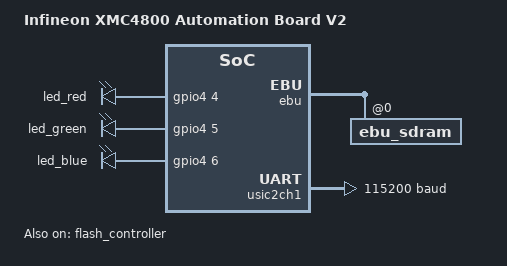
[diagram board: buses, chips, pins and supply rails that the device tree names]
/*
 * SPDX-License-Identifier: Apache-2.0
 *
 * Copyright (c) 2023 Andriy Gelman
 *
 */

/dts-v1/;

#include <infineon/xmc4800_E196x2048.dtsi>
#include <infineon/xmc4800_E196x2048-intc.dtsi>
#include <zephyr/dt-bindings/memory-controller/infineon-xmc4xxx-ebu.h>

#include "xmc4800_automation_board_v2-pinctrl.dtsi"

/ {
	model = "Infineon XMC4800 Automation Board V2";
	compatible = "infineon,xmc4xxx";

	aliases {
		led0 = &led_red;
		die-temp0 = &die_temp;
	};

	leds {
		compatible = "gpio-leds";
		led_red: led_red {
			gpios = <&gpio4 4 GPIO_ACTIVE_HIGH>;
		};
		led_green: led_green {
			gpios = <&gpio4 5 GPIO_ACTIVE_HIGH>;
		};
		led_blue: led_blue {
			gpios = <&gpio4 6 GPIO_ACTIVE_HIGH>;
		};
	};

	sdram1: sdram@60000000 {
		compatible = "zephyr,memory-region", "mmio-sram";
		device_type = "memory";
		reg = <0x60000000 DT_SIZE_M(8)>;
		zephyr,memory-region = "SDRAM1";
	};

	chosen {
		zephyr,sram = &psram1;
		zephyr,flash = &flash0;
		zephyr,console = &usic2ch1;
		zephyr,shell-uart = &usic2ch1;
		zephyr,flash-controller = &flash_controller;
		zephyr,code-partition = &code_partition;
	};
};

&dsram1 {
	compatible = "zephyr,memory-region", "mmio-sram";
	zephyr,memory-region = "DSRAM1";
};

&dsram2 {
	compatible = "zephyr,memory-region", "mmio-sram";
	zephyr,memory-region = "DSRAM2";
};

&flash_controller {
	status = "okay";
};

&flash0 {
	partitions {
		compatible = "fixed-partitions";
		#address-cells = <1>;
		#size-cells = <1>;

		code_partition: partition@0 {
			reg = <0x0 0x140000>;
			read-only;
		};

		storage_partition: partition@140000 {
			label = "storage";
			reg = <0x140000 0xc0000>;
		};
	};
};

&cpu0 {
	clock-frequency = <144000000>;
};

&ebu {
	pinctrl-0 = <
		&ebu_p0_2_ad0
		&ebu_p0_3_ad1
		&ebu_p0_4_ad2
		&ebu_p0_5_ad3
		&ebu_p0_6_adv
		&ebu_p0_7_ad6
		&ebu_p0_8_ad7
		&ebu_p1_2_ad14
		&ebu_p1_3_ad15
		&ebu_p1_6_ad10
		&ebu_p1_7_ad11
		&ebu_p1_8_ad12
		&ebu_p1_9_ad13
		&ebu_p1_12_ad16
		&ebu_p1_13_ad17
		&ebu_p1_14_ad18
		&ebu_p1_15_ad19
		&ebu_p2_0_ad20
		&ebu_p2_1_ad21
		&ebu_p2_2_ad22
		&ebu_p2_3_ad23
		&ebu_p2_4_ad24
		&ebu_p2_5_ad25
		&ebu_p2_8_ad26
		&ebu_p2_9_ad27
		&ebu_p2_10_ad28
		&ebu_p2_11_ad29
		&ebu_p3_5_ad4
		&ebu_p3_6_ad5
		&ebu_p4_0_ad8
		&ebu_p4_1_ad9
		&ebu_p3_1_rd_nwr
		&ebu_p5_4_ras
		&ebu_p5_5_cas
		&ebu_p3_2_cs0
		&ebu_p2_14_bc0
		&ebu_p2_15_bc1
		&ebu_p5_3_cke
		&ebu_p5_8_sdclko
	>;
	pinctrl-names = "default";
	clk-config = <XMC4XXX_EBU_SET_CLC(0, 1, 0)>;
	modes-config = <XMC4XXX_EBU_SET_MODCON(0, 0, 0, 3, 0, 0)>;
	gpio-control-config = <XMC4XXX_EBU_SET_USERCON(0x1ff, 0)>;
	sdram-control = <XMC4XXX_EBU_SET_SDRMCON(0, 0, 0, 0, 2, 1, 5, 1, 1, 1, 0, 0, 0)>;
	sdram-operation-mode = <XMC4XXX_EBU_SDRMOD(0, 0, 1, 0, 3, 0)>;
	sdram-refresh-control = <XMC4XXX_EBU_SDRMREF(7, 1, 255, 0, 1, 1, 1, 2)>;
	ebu_sdram@0 {
			reg = <0>;
			infineon,device-type = "SDRAM";
			infineon,address-bus-width = "16-bit";
			infineon,region-enable;
			infineon,alternate-region-enable;
			infineon,bus-read-config = <XMC4XXX_EBU_SET_BUSRCON(
						    3, 0, 0, 1, 0, 0, 0, 0, 0, 0, 1, 0, 0)>;
			infineon,bus-read-timing = <XMC4XXX_EBU_SET_BUSRAP(
						    15, 7, 4, 0, 0, 0, 15, 15, 15)>;
			infineon,bus-write-config = <XMC4XXX_EBU_SET_BUSWCON(
						    3, 0, 0, 0, 0, 0, 1, 0, 0, 0)>;
			infineon,bus-write-timing = <XMC4XXX_EBU_SET_BUSWAP(
						    15, 7, 4, 0, 0, 0, 15, 15, 15)>;
	};
	status = "okay";
};

&usic2ch1 {
	compatible = "infineon,xmc4xxx-uart";
	current-speed = <115200>;
	pinctrl-0 = <&uart_tx_p3_11_u2c1 &uart_rx_p3_12_u2c1>;
	pinctrl-names = "default";
	input-src = "DX0D";
	interrupts = <96 1 97 1>;
	interrupt-names = "tx", "rx";
	fifo-start-offset = <0>;
	fifo-tx-size = <16>;
	fifo-rx-size = <16>;
	status = "okay";
};

&adc0 {
	vref-internal-mv = <3300>;
};

&adc1 {
	vref-internal-mv = <3300>;
};

&adc2 {
	vref-internal-mv = <3300>;
};

&adc3 {
	vref-internal-mv = <3300>;
};

&gpio4 {
	status = "okay";
};
